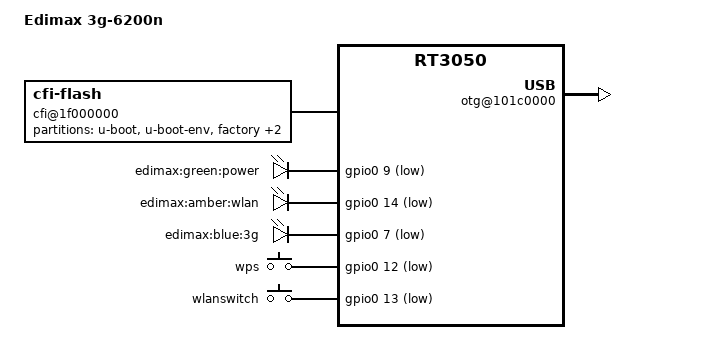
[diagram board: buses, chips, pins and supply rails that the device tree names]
/dts-v1/;

/include/ "rt3050.dtsi"

/ {
	compatible = "3G-6200N", "ralink,rt3050-soc";
	model = "Edimax 3g-6200n";

	pinctrl {
		state_default: pinctrl0 {
			gpio {
				ralink,group = "spi", "i2c", "jtag", "rgmii", "mdio", "uartf";
				ralink,function = "gpio";
			};
		};
	};

	cfi@1f000000 {
		compatible = "cfi-flash";
		reg = <0x1f000000 0x800000>;

		bank-width = <2>;
		device-width = <2>;
		#address-cells = <1>;
		#size-cells = <1>;

		partition@0 {
			label = "u-boot";
			reg = <0x0 0x30000>;
			read-only;
		};

		partition@30000 {
			label = "u-boot-env";
			reg = <0x30000 0x10000>;
			read-only;
		};

		factory: partition@40000 {
			label = "factory";
			reg = <0x40000 0x10000>;
			read-only;
		};

		partition@3e0000 {
			label = "cimage";
			reg = <0x3e0000 0x20000>;
			read-only;
		};

		partition@50000 {
			label = "firmware";
			reg = <0x50000 0x390000>;
		};
	};

	ethernet@10100000 {
		mtd-mac-address = <&factory 0x4>;
	};

	esw@10110000 {
		ralink,portmap = <0x2f>;
	};

	gpio-leds {
		compatible = "gpio-leds";
		power {
			label = "edimax:green:power";
			gpios = <&gpio0 9 1>;
		};
		wlan {
			label = "edimax:amber:wlan";
			gpios = <&gpio0 14 1>;
		};
		3g {
			label = "edimax:blue:3g";
			gpios = <&gpio0 7 1>;
		};
	};

	gpio-keys-polled {
		compatible = "gpio-keys-polled";
		#address-cells = <1>;
		#size-cells = <0>;
		poll-interval = <20>;
		wps {
			label = "wps";
			gpios = <&gpio0 12 1>;
			linux,code = <0x211>;
		};
		wlanswitch {
			label = "wlanswitch";
			gpios = <&gpio0 13 1>;
			linux,code = <0x100>;
		};
	};

	otg@101c0000 {
		status = "okay";
	};
};
